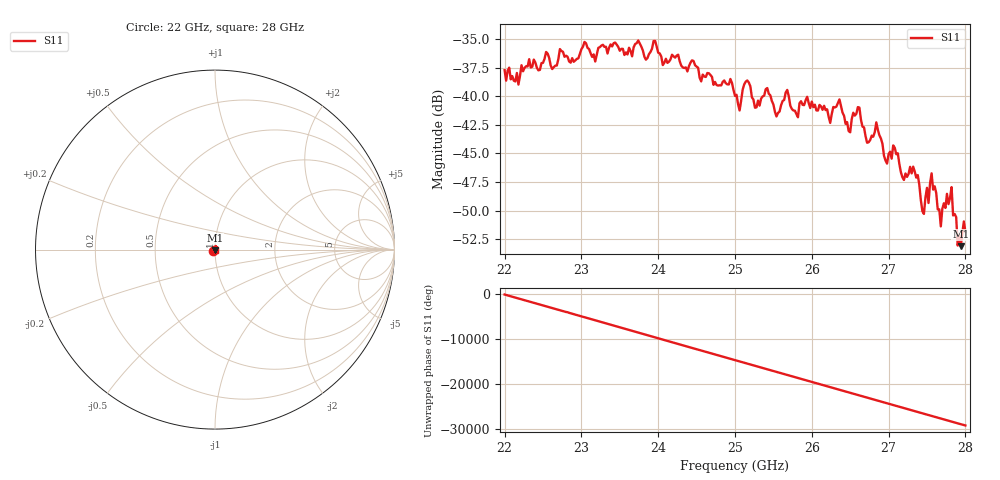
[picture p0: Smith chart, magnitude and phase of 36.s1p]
#  HZ  S  RI  R  50.00
! Rohde & Schwarz ZVA40 4Ports - Version 3.90 - 1145.1110k42 SN: 100403
! Date: 2023-10-04 06:14:02
! Measurement: S12
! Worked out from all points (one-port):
!   301 points, 22 GHz to 28 GHz, reference 50 ohm
!   lowest |S11| = -53.1 dB at 27.94 GHz (marker M1), VSWR 1.00, Z = 49.9 - j0.202 ohm
!   |S11| at or under -10 dB: start of sweep to end of sweep
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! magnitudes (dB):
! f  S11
! 22 GHz  -37.7
! 22.18 GHz  -39.0
! 22.76 GHz  -36.1
! 23.5 GHz  -36.0
! 24.26 GHz  -36.4
! 25 GHz  -40.0
! 25.42 GHz  -39.3
! 25.54 GHz  -41.8
! 25.68 GHz  -39.4
! 25.76 GHz  -41.2
! 25.94 GHz  -40.0
! 26.24 GHz  -42.3
! 26.36 GHz  -40.3
! 26.5 GHz  -43.1
! 26.62 GHz  -41.0
! 26.72 GHz  -44.1
! 26.84 GHz  -42.3
! 26.98 GHz  -45.9
! 27.06 GHz  -44.3
! 27.26 GHz  -46.8
! 27.38 GHz  -46.9
! 27.46 GHz  -50.3
! 27.56 GHz  -46.7
! 27.68 GHz  -51.4
! 27.82 GHz  -47.9
! 27.9 GHz  -53.1
! 27.94 GHz  -53.1
! 28 GHz  -51.9
